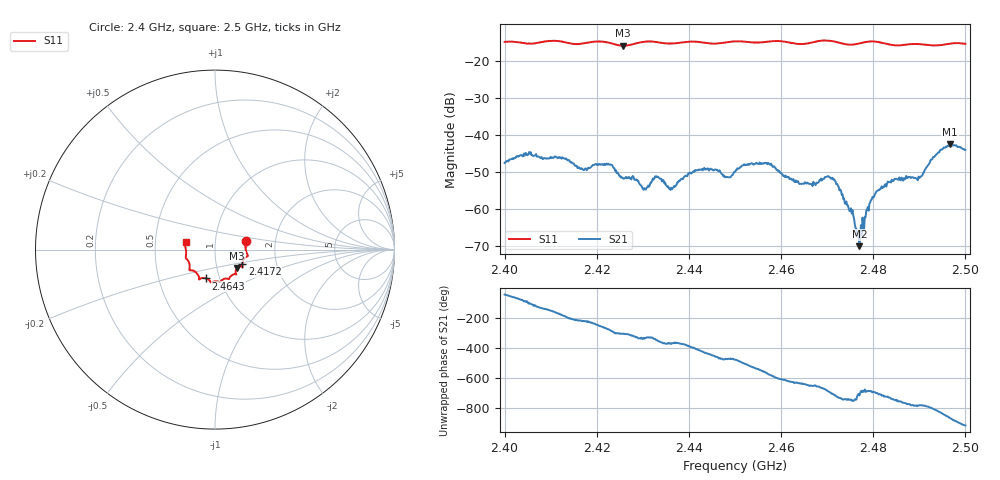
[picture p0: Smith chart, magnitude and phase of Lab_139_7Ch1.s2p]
# Hz S RI R 50
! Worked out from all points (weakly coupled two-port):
!   601 points, 2.4 GHz to 2.5 GHz, reference 50 ohm
!   highest |S21| = -42.51 dB at 2.4967 GHz (marker M1); lowest = -70.0 dB at 2.477 GHz (marker M2)
!   lowest |S11| = -15.9 dB at 2.4257 GHz (marker M3), VSWR 1.38, Z = 62.4 - j13.1 ohm
!   |S11| at or under -10 dB: start of sweep to end of sweep
!   S12 and S22 are empty: the file has one direction only
!   S11 on the Smith chart (normalised r, x): 2.4 GHz: 1.41, +0.14; 2.4172 GHz: 1.34, -0.22; 2.4643 GHz: 0.86, -0.28; 2.5 GHz: 0.72, +0.06
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2.4e9  0.1735 0.0491  0.00292 -0.00304  0 0  0 0
2.405167e9  0.1716 0.0113  -0.00159 -0.0053  0 0  0 0
2.416667e9  0.1528 -0.0744  -0.00275 0.00228  0 0  0 0
2.417167e9  0.152 -0.0802  -0.00253 0.00221  0 0  0 0
2.422667e9  0.148 -0.0945  0.000638 0.00397  0 0  0 0
2.425667e9  0.1227 -0.1025  0.00158 0.00211  0 0  0 0
2.430333e9  0.118 -0.1373  0.00181 0.000642  0 0  0 0
2.433333e9  0.1127 -0.1371  0.00272 0.00012  0 0  0 0
2.436167e9  0.0928 -0.1437  0.00189 -0.00051  0 0  0 0
2.441833e9  0.0749 -0.1643  0.00215 -0.0026  0 0  0 0
2.448333e9  0.0338 -0.1752  -0.0012 -0.00244  0 0  0 0
2.45e9  0.0291 -0.181  -0.00162 -0.00273  0 0  0 0
2.457e9  -0.0141 -0.1804  -0.00341 0.00217  0 0  0 0
2.464333e9  -0.0498 -0.1607  0.00032 0.00217  0 0  0 0
2.466667e9  -0.076 -0.1595  0.000912 0.00199  0 0  0 0
2.471667e9  -0.0878 -0.159  0.00243 2.83e-05  0 0  0 0
2.477e9  -0.1265 -0.116  0.000318 6.34e-06  0 0  0 0
2.479667e9  -0.143 -0.1141  0.00118 0.000659  0 0  0 0
2.483333e9  -0.141 -0.0896  0.00226 -0.000489  0 0  0 0
2.49e9  -0.1632 -0.0406  0.00114 -0.00239  0 0  0 0
2.496667e9  -0.169 0.0245  -0.00644 -0.00383  0 0  0 0
2.5e9  -0.1642 0.0427  -0.00597 0.00205  0 0  0 0
